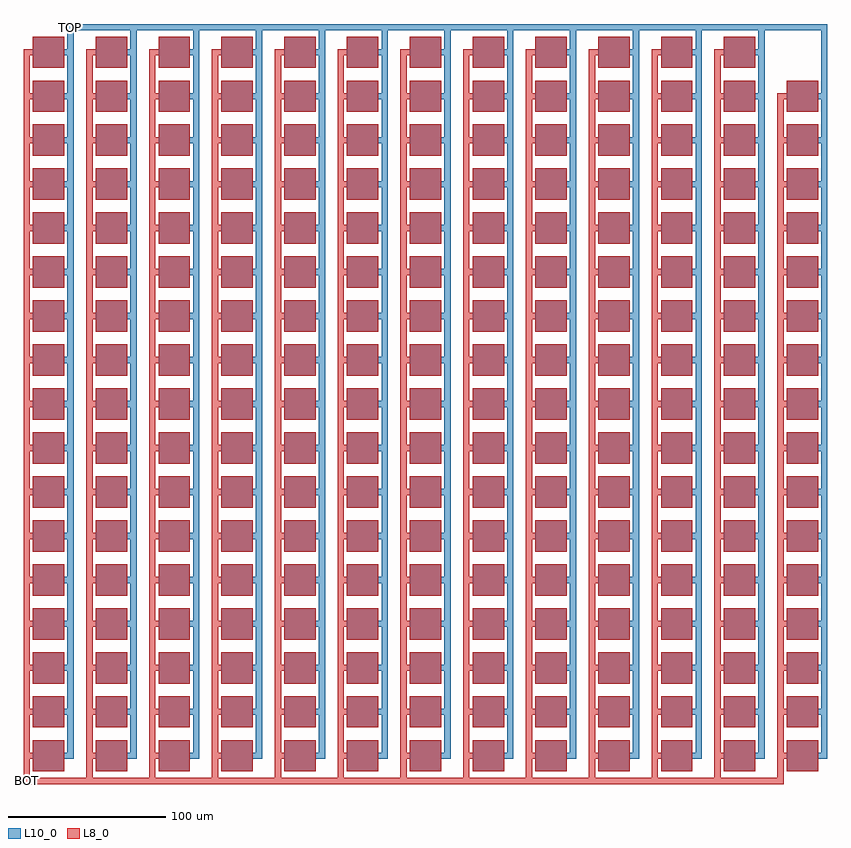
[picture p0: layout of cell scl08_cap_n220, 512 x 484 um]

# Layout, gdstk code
import gdstk
lib = gdstk.Library(unit=1e-6, precision=1e-09)
def R(c, l, rs):  # rectangles x0, y0, x1, y1
    for r in rs: c.add(gdstk.rectangle(r[:2], r[2:], *l))
def A(c, l, x, y, w, h, nx, ny, dx, dy):  # array of equal rectangles
    R(c, l, [(x+i*dx, y+j*dy, x+i*dx+w, y+j*dy+h) for i in range(nx) for j in range(ny)])
L8_0 = (8, 0)
L10_0 = (10, 0)

scl08_cap_n220 = lib.new_cell('scl08_cap_n220')
A(scl08_cap_n220, L8_0, -6, -8, 4, 468, 12, 1, 40, 0)
A(scl08_cap_n220, L8_0, 0, 0, 20, 20, 13, 16, 40, 28)
A(scl08_cap_n220, L8_0, -6, 8, 6, 4, 13, 16, 40, 28)
A(scl08_cap_n220, L8_0, 0, 448, 20, 20, 12, 1, 40, 0)
A(scl08_cap_n220, L8_0, -6, 456, 6, 4, 12, 1, 40, 0)
R(scl08_cap_n220, L8_0, [(-6,-8,478,-4), (474,-8,478,432)])
A(scl08_cap_n220, L10_0, 0, 0, 20, 20, 13, 16, 40, 28)
A(scl08_cap_n220, L10_0, 20, 8, 6, 4, 13, 16, 40, 28)
A(scl08_cap_n220, L10_0, 22, 8, 4, 468, 13, 1, 40, 0)
A(scl08_cap_n220, L10_0, 0, 448, 20, 20, 12, 1, 40, 0)
A(scl08_cap_n220, L10_0, 20, 456, 6, 4, 12, 1, 40, 0)
R(scl08_cap_n220, L10_0, [(22,472,506,476)])
scl08_cap_n220.add(gdstk.Label('BOT', (-4,-6), layer=8, texttype=7))
scl08_cap_n220.add(gdstk.Label('TOP', (24,474), layer=10, texttype=7))

lib.write_gds('scl08_cap_n220.gds')
